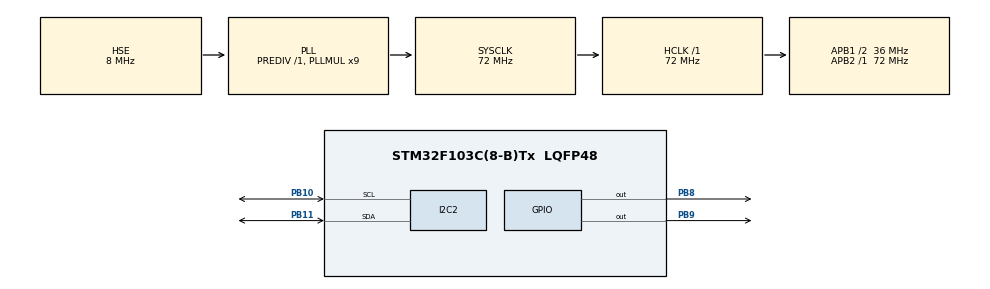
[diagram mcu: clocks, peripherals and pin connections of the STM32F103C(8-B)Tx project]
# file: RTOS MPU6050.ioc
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FREERTOS.Tasks01=defaultTask,24,128,StartDefaultTask,Default,NULL,Dynamic,NULL,NULL
Mcu.Family=STM32F1
Mcu.Name=STM32F103C(8-B)Tx
Mcu.Package=LQFP48
NVIC.PriorityGroup=NVIC_PRIORITYGROUP_4
NVIC.TIM4_IRQn=true\:15\:0\:false\:false\:true\:false\:false\:true\:true
NVIC.TimeBase=TIM4_IRQn
NVIC.TimeBaseIP=TIM4
PA13.Mode=Serial_Wire
PA13.Signal=SYS_JTMS-SWDIO
PA14.Mode=Serial_Wire
PA14.Signal=SYS_JTCK-SWCLK
PB10.Mode=I2C
PB10.Signal=I2C2_SCL
PB11.Mode=I2C
PB11.Signal=I2C2_SDA
PB8.GPIO_ModeDefaultOutputPP=GPIO_MODE_OUTPUT_OD
PB8.GPIO_PuPd=GPIO_NOPULL
PB8.Signal=GPIO_Output
PB9.GPIO_ModeDefaultOutputPP=GPIO_MODE_OUTPUT_OD
PB9.GPIO_PuPd=GPIO_NOPULL
PB9.Signal=GPIO_Output
PD0-OSC_IN.Mode=HSE-External-Oscillator
PD0-OSC_IN.Signal=RCC_OSC_IN
PD1-OSC_OUT.Mode=HSE-External-Oscillator
PD1-OSC_OUT.Signal=RCC_OSC_OUT
ProjectManager.HeapSize=0x200
ProjectManager.StackSize=0x400
ProjectManager.TargetToolchain=MDK-ARM V5.32
RCC.AHBFreq_Value=72000000
RCC.APB1CLKDivider=RCC_HCLK_DIV2
RCC.APB1Freq_Value=36000000
RCC.APB1TimFreq_Value=72000000
RCC.APB2Freq_Value=72000000
RCC.APB2TimFreq_Value=72000000
RCC.HCLKFreq_Value=72000000
RCC.PLLMUL=RCC_PLL_MUL9
RCC.PLLSourceVirtual=RCC_PLLSOURCE_HSE
RCC.SYSCLKFreq_VALUE=72000000
RCC.SYSCLKSource=RCC_SYSCLKSOURCE_PLLCLK
RCC.USBFreq_Value=72000000
VP_FREERTOS_VS_CMSIS_V2.Mode=CMSIS_V2
VP_SYS_VS_tim4.Mode=TIM4
board=custom

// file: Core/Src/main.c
/* USER CODE BEGIN Header */
/**
  ******************************************************************************
  * @file           : main.c
  * @brief          : Main program body
  ******************************************************************************
  * @attention
  *
  * Copyright (c) 2024 STMicroelectronics.
  * All rights reserved.
  *
  * This software is licensed under terms that can be found in the LICENSE file
  * in the root directory of this software component.
  * If no LICENSE file comes with this software, it is provided AS-IS.
  *
  ******************************************************************************
  */
/* USER CODE END Header */
#include "main.h"
#include "cmsis_os.h"
#include "i2c.h"
#include "gpio.h"

/* USER CODE BEGIN Includes */
#include "OLED.h"
#include "MPU6050.h"

/* USER CODE END Includes */

void SystemClock_Config(void);
void MX_FREERTOS_Init(void);

int main(void)
{

  /* MCU Configuration--------------------------------------------------------*/

  /* Reset of all peripherals, Initializes the Flash interface and the Systick. */
  HAL_Init();

  /* Configure the system clock */
  SystemClock_Config();

  /* Initialize all configured peripherals */
  MX_GPIO_Init();
  MX_I2C2_Init();
  /* USER CODE BEGIN 2 */

   OLED_Init();
//	OLED_ShowChar(1, 1, 'A');
//	OLED_ShowString(1, 3, "AAAAAA!");
//	OLED_ShowNum(2, 1, 12345, 5);
//	OLED_ShowSignedNum(2, 7, -66, 2);
//	OLED_ShowHexNum(3, 1, 0xAA55, 4);
//	OLED_ShowBinNum(4, 1, 2, 16);

  /* USER CODE END 2 */

  /* Init scheduler */
  osKernelInitialize();

  /* Call init function for freertos objects (in cmsis_os2.c) */
  MX_FREERTOS_Init();

  /* Start scheduler */
  osKernelStart();

  /* We should never get here as control is now taken by the scheduler */

  /* Infinite loop */
  while (1)
  {

  }
}

void SystemClock_Config(void)
{
  RCC_OscInitTypeDef RCC_OscInitStruct = {0};
  RCC_ClkInitTypeDef RCC_ClkInitStruct = {0};

  /** Initializes the RCC Oscillators according to the specified parameters
  * in the RCC_OscInitTypeDef structure.
  */
  RCC_OscInitStruct.OscillatorType = RCC_OSCILLATORTYPE_HSE;
  RCC_OscInitStruct.HSEState = RCC_HSE_ON;
  RCC_OscInitStruct.HSEPredivValue = RCC_HSE_PREDIV_DIV1;
  RCC_OscInitStruct.HSIState = RCC_HSI_ON;
  RCC_OscInitStruct.PLL.PLLState = RCC_PLL_ON;
  RCC_OscInitStruct.PLL.PLLSource = RCC_PLLSOURCE_HSE;
  RCC_OscInitStruct.PLL.PLLMUL = RCC_PLL_MUL9;
  if (HAL_RCC_OscConfig(&RCC_OscInitStruct) != HAL_OK)
  {
    Error_Handler();
  }

  /** Initializes the CPU, AHB and APB buses clocks
  */
  RCC_ClkInitStruct.ClockType = RCC_CLOCKTYPE_HCLK|RCC_CLOCKTYPE_SYSCLK
                              |RCC_CLOCKTYPE_PCLK1|RCC_CLOCKTYPE_PCLK2;
  RCC_ClkInitStruct.SYSCLKSource = RCC_SYSCLKSOURCE_PLLCLK;
  RCC_ClkInitStruct.AHBCLKDivider = RCC_SYSCLK_DIV1;
  RCC_ClkInitStruct.APB1CLKDivider = RCC_HCLK_DIV2;
  RCC_ClkInitStruct.APB2CLKDivider = RCC_HCLK_DIV1;

  if (HAL_RCC_ClockConfig(&RCC_ClkInitStruct, FLASH_LATENCY_2) != HAL_OK)
  {
    Error_Handler();
  }
}

void HAL_TIM_PeriodElapsedCallback(TIM_HandleTypeDef *htim)
{
  if (htim->Instance == TIM4) {
    HAL_IncTick();
  }
}

void Error_Handler(void)
{
  __disable_irq();
  while (1)
  {
  }
}

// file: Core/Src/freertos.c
/* USER CODE BEGIN Header */
/**
  ******************************************************************************
  * File Name          : freertos.c
  * Description        : Code for freertos applications
  ******************************************************************************
  * @attention
  *
  * Copyright (c) 2024 STMicroelectronics.
  * All rights reserved.
  *
  * This software is licensed under terms that can be found in the LICENSE file
  * in the root directory of this software component.
  * If no LICENSE file comes with this software, it is provided AS-IS.
  *
  ******************************************************************************
  */
/* USER CODE END Header */

#include "FreeRTOS.h"
#include "task.h"
#include "main.h"
#include "cmsis_os.h"

/* USER CODE BEGIN Includes */
#include "OLED.h"
#include "MPU6050.h"

/* USER CODE END Includes */

/* Definitions for defaultTask */
osThreadId_t defaultTaskHandle;
const osThreadAttr_t defaultTask_attributes = {
  .name = "defaultTask",
  .stack_size = 128 * 4,
  .priority = (osPriority_t) osPriorityNormal,
};

void StartDefaultTask(void *argument);

void MX_FREERTOS_Init(void); /* (MISRA C 2004 rule 8.1) */

void MX_FREERTOS_Init(void) {

  /* Create the thread(s) */
  /* creation of defaultTask */
  defaultTaskHandle = osThreadNew(StartDefaultTask, NULL, &defaultTask_attributes);

}

void StartDefaultTask(void *argument)
{
  /* USER CODE BEGIN StartDefaultTask */
    int res=1;
    float pitch;
    float roll;
    float yaw;
    int16_t gx,gy,gz,ax,ay,az;
    while(res)
    {
        res = MPU6050_DMP_Init();
        OLED_ShowString(1, 1, " ");
        OLED_ShowString(1, 1, "InitNG:");
        OLED_ShowSignedNum(1, 8,res,1);
        HAL_Delay(1000);
    }
    OLED_ShowString(1, 1, " ");
    OLED_ShowString(1, 1, "InitOK");
    /* Infinite loop */
  for(;;)
  {
      if(MPU6050_DMP_Get_Data(&pitch, &roll, &yaw,&gx,&gy,&gz,&ax,&ay,&az))
    {
        OLED_ShowSignedNum(2, 1, ax, 5);
        OLED_ShowSignedNum(3, 1, ay, 5);
        OLED_ShowSignedNum(4, 1, az, 5);
        OLED_ShowSignedNum(2, 8, gx, 5);
        OLED_ShowSignedNum(3, 8, gy, 5);
        OLED_ShowSignedNum(4, 8, gz, 5);
    }
    osDelay(100);
  }
  /* USER CODE END StartDefaultTask */
}
